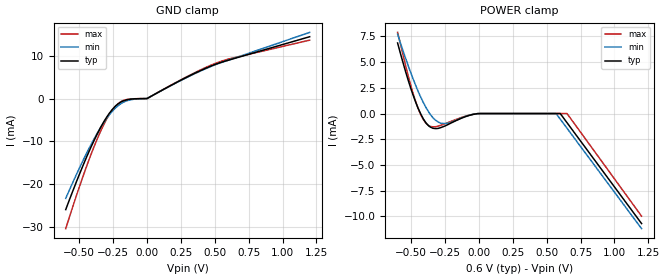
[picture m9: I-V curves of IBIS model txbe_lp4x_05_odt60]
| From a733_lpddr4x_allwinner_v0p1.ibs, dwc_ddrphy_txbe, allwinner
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[Model] txbe_lp4x_05_odt60
Model_type   Input
Polarity   Non-Inverting
Enable   Active-High
C_comp   930.403fF   927.318fF   940.527fF
C_comp_pullup   277.269fF   273.080fF   278.492fF
C_comp_pulldown 504.071fF   500.999fF   520.335fF
Vinh = 360.000mV
Vinl = 307.000mV
[Model Spec]
D_overshoot_ampl_h 0.1 NA   NA
D_overshoot_ampl_l 0.1 NA   NA
D_overshoot_area_l 300.000m NA   NA
D_overshoot_area_h 300.000m NA   NA
[Receiver Thresholds]
Vth = 163.000mV
Vth_min = 143.000mV
Vth_max = 150.000mV
Vinh_ac = 60.000mV
Vinh_dc = 60.000mV
Vinl_ac = -60.000mV
Vinl_dc = -60.000mV
Tslew_ac = 5.000ns
Threshold_sensitivity = 0.5
Reference_supply Power_clamp_ref
[Temperature Range]   25.000   125.000   -40.000
[Voltage Range]   600.000mV   570.000mV   650.000mV
[GND Clamp Reference]   0.00V   0.00V   0.00V
[C Comp Corner]
| variable   typ   min   max
C_comp 930.403fF   940.527fF   927.318fF
C_comp_pullup 277.269fF   278.492fF   273.080fF
C_comp_pulldown 504.071fF   520.335fF   500.999fF
[POWER Clamp Reference]   600.000mV   570.000mV   650.000mV
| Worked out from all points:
|   GND clamp passes 1 mA (typ) near -0.20 V on its own axis
|   POWER clamp passes 1 mA (typ) near -0.22 V on its own axis
[GND Clamp]
-600mV    -26.01mA   -23.37mA   -30.46mA
-470mV    -15.49mA   -14.35mA   -17.99mA
-370mV    -8.456mA   -8.254mA   -9.641mA
-320mV    -5.497mA   -5.651mA   -6.138mA
-280mV    -3.52mA    -3.866mA   -3.819mA
-240mV    -1.981mA   -2.414mA   -2.029mA
-210mV    -1.153mA   -1.57mA    -1.092mA
-130mV    -173uA     -341.2uA   -116.7uA
0V        0A         0A         0A
330mV     5.578mA    5.503mA    5.713mA
550mV     8.529mA    8.448mA    8.77mA
1.2V      14.48mA    15.5mA     13.69mA
[Power Clamp]
-600mV    6.857mA    7.709mA    7.884mA
-520mV    3.16mA     4.578mA    3.576mA
-470mV    1.218mA    2.841mA    1.296mA
-410mV    -522.6uA   1.062mA    -600uA
-370mV    -1.206mA   136.8uA    -1.184mA
-320mV    -1.463mA   -650.2uA   -1.284mA
-260mV    -1.259mA   -968uA     -1.04mA
-10mV     -12.6uA    -10.6uA    -12uA
570mV     -1.516uA   -12.82uA   -267.2nA
600mV     -1.612uA   -545uA     -284.9nA
650mV     -892.5uA   -1.432mA   -314.5nA
1.2V      -10.69mA   -11.19mA   -9.972mA
